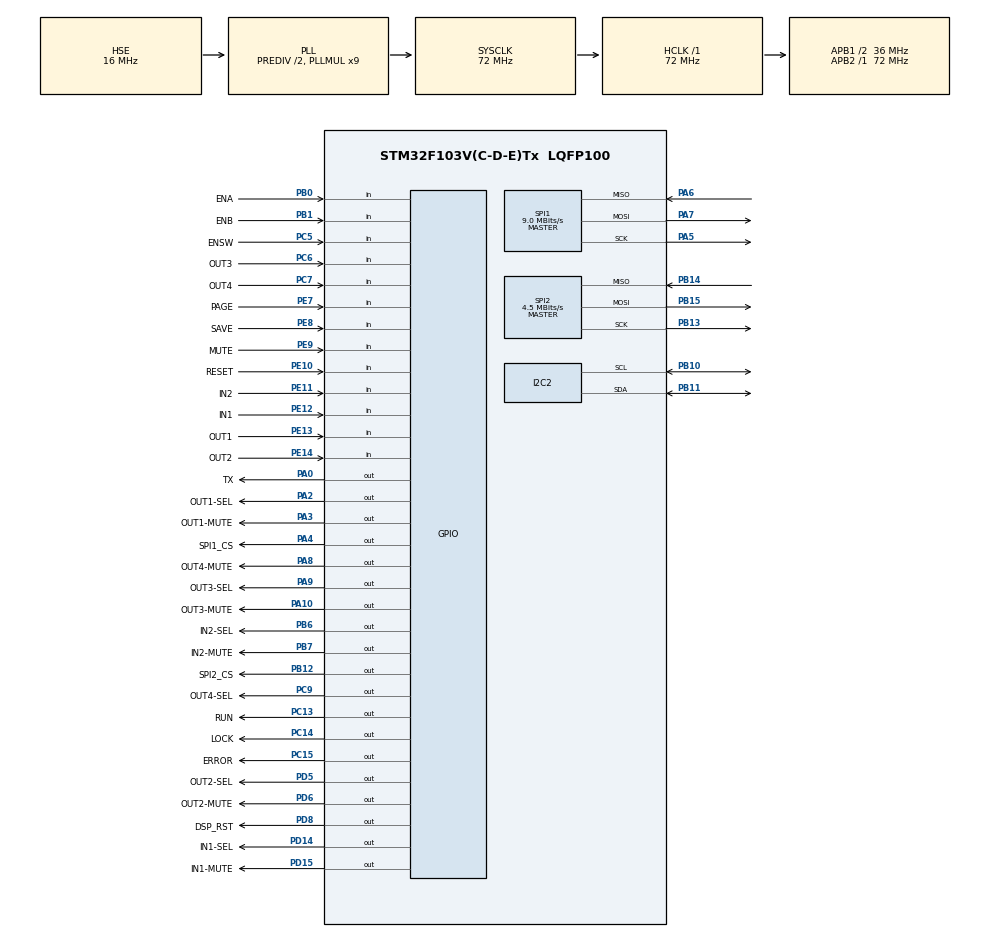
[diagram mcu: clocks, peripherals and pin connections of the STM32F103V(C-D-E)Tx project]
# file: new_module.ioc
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Mcu.Family=STM32F1
Mcu.Name=STM32F103V(C-D-E)Tx
Mcu.Package=LQFP100
NVIC.PriorityGroup=NVIC_PRIORITYGROUP_4
NVIC.TIM2_IRQn=true\:0\:0\:false\:false\:true\:true\:true
OSC_IN.Mode=HSE-External-Oscillator
OSC_IN.Signal=RCC_OSC_IN
OSC_OUT.Mode=HSE-External-Oscillator
OSC_OUT.Signal=RCC_OSC_OUT
PA0-WKUP.GPIO_Label=TX
PA0-WKUP.Signal=GPIO_Output
PA10.GPIO_Label=OUT3-MUTE
PA10.PinState=GPIO_PIN_SET
PA10.Signal=GPIO_Output
PA13.Mode=Serial_Wire
PA13.Signal=SYS_JTMS-SWDIO
PA14.Mode=Serial_Wire
PA14.Signal=SYS_JTCK-SWCLK
PA2.GPIO_Label=OUT1-SEL
PA2.PinState=GPIO_PIN_SET
PA2.Signal=GPIO_Output
PA3.GPIO_Label=OUT1-MUTE
PA3.PinState=GPIO_PIN_SET
PA3.Signal=GPIO_Output
PA4.GPIO_Label=SPI1_CS
PA4.GPIO_Speed=GPIO_SPEED_FREQ_HIGH
PA4.Signal=GPIO_Output
PA5.Mode=Full_Duplex_Master
PA5.Signal=SPI1_SCK
PA6.Mode=Full_Duplex_Master
PA6.Signal=SPI1_MISO
PA7.Mode=Full_Duplex_Master
PA7.Signal=SPI1_MOSI
PA8.GPIO_Label=OUT4-MUTE
PA8.PinState=GPIO_PIN_SET
PA8.Signal=GPIO_Output
PA9.GPIO_Label=OUT3-SEL
PA9.PinState=GPIO_PIN_SET
PA9.Signal=GPIO_Output
PB0.GPIO_Label=ENA
PB0.GPIO_PuPd=GPIO_PULLUP
PB0.Signal=GPIO_Input
PB1.GPIO_Label=ENB
PB1.GPIO_PuPd=GPIO_PULLUP
PB1.Signal=GPIO_Input
PB10.GPIO_Pu=GPIO_PULLUP
PB10.Mode=I2C
PB10.Signal=I2C2_SCL
PB11.GPIO_Pu=GPIO_PULLUP
PB11.Mode=I2C
PB11.Signal=I2C2_SDA
PB12.GPIO_Label=SPI2_CS
PB12.GPIO_Speed=GPIO_SPEED_FREQ_HIGH
PB12.Signal=GPIO_Output
PB13.Mode=Full_Duplex_Master
PB13.Signal=SPI2_SCK
PB14.Mode=Full_Duplex_Master
PB14.Signal=SPI2_MISO
PB15.Mode=Full_Duplex_Master
PB15.Signal=SPI2_MOSI
PB6.GPIO_Label=IN2-SEL
PB6.PinState=GPIO_PIN_SET
PB6.Signal=GPIO_Output
PB7.GPIO_Label=IN2-MUTE
PB7.PinState=GPIO_PIN_SET
PB7.Signal=GPIO_Output
PC13-TAMPER-RTC.GPIO_Label=RUN
PC13-TAMPER-RTC.Signal=GPIO_Output
PC14-OSC32_IN.GPIO_Label=LOCK
PC14-OSC32_IN.Signal=GPIO_Output
PC15-OSC32_OUT.GPIO_Label=ERROR
PC15-OSC32_OUT.Signal=GPIO_Output
PC5.GPIO_Label=ENSW
PC5.GPIO_PuPd=GPIO_PULLUP
PC5.Signal=GPIO_Input
PC6.GPIO_Label=OUT3
PC6.GPIO_PuPd=GPIO_PULLUP
PC6.Signal=GPIO_Input
PC7.GPIO_Label=OUT4
PC7.GPIO_PuPd=GPIO_PULLUP
PC7.Signal=GPIO_Input
PC9.GPIO_Label=OUT4-SEL
PC9.PinState=GPIO_PIN_SET
PC9.Signal=GPIO_Output
PD14.GPIO_Label=IN1-SEL
PD14.PinState=GPIO_PIN_SET
PD14.Signal=GPIO_Output
PD15.GPIO_Label=IN1-MUTE
PD15.PinState=GPIO_PIN_SET
PD15.Signal=GPIO_Output
PD5.GPIO_Label=OUT2-SEL
PD5.PinState=GPIO_PIN_SET
PD5.Signal=GPIO_Output
PD6.GPIO_Label=OUT2-MUTE
PD6.PinState=GPIO_PIN_SET
PD6.Signal=GPIO_Output
PD8.GPIO_Label=DSP_RST
PD8.GPIO_ModeDefaultOutputPP=GPIO_MODE_OUTPUT_OD
PD8.PinState=GPIO_PIN_SET
PD8.Signal=GPIO_Output
PE10.GPIO_Label=RESET
PE10.GPIO_PuPd=GPIO_PULLUP
PE10.Signal=GPIO_Input
PE11.GPIO_Label=IN2
PE11.GPIO_PuPd=GPIO_PULLUP
PE11.Signal=GPIO_Input
PE12.GPIO_Label=IN1
PE12.GPIO_PuPd=GPIO_PULLUP
PE12.Signal=GPIO_Input
PE13.GPIO_Label=OUT1
PE13.GPIO_PuPd=GPIO_PULLUP
PE13.Signal=GPIO_Input
PE14.GPIO_Label=OUT2
PE14.GPIO_PuPd=GPIO_PULLUP
PE14.Signal=GPIO_Input
PE7.GPIO_Label=PAGE
PE7.GPIO_PuPd=GPIO_PULLUP
PE7.Signal=GPIO_Input
PE8.GPIO_Label=SAVE
PE8.GPIO_PuPd=GPIO_PULLUP
PE8.Signal=GPIO_Input
PE9.GPIO_Label=MUTE
PE9.GPIO_PuPd=GPIO_PULLUP
PE9.Signal=GPIO_Input
ProjectManager.HeapSize=0x200
ProjectManager.StackSize=0x400
ProjectManager.TargetToolchain=STM32CubeIDE
RCC.AHBFreq_Value=72000000
RCC.APB1CLKDivider=RCC_HCLK_DIV2
RCC.APB1Freq_Value=36000000
RCC.APB1TimFreq_Value=72000000
RCC.APB2Freq_Value=72000000
RCC.APB2TimFreq_Value=72000000
RCC.HCLKFreq_Value=72000000
RCC.HSEDivPLL=RCC_HSE_PREDIV_DIV2
RCC.HSE_VALUE=16000000
RCC.PLLMUL=RCC_PLL_MUL9
RCC.PLLSourceVirtual=RCC_PLLSOURCE_HSE
RCC.SYSCLKFreq_VALUE=72000000
RCC.SYSCLKSource=RCC_SYSCLKSOURCE_PLLCLK
RCC.USBFreq_Value=72000000
SPI1.BaudRatePrescaler=SPI_BAUDRATEPRESCALER_8
SPI1.CalculateBaudRate=9.0 MBits/s
SPI1.Direction=SPI_DIRECTION_2LINES
SPI1.Mode=SPI_MODE_MASTER
SPI1.VirtualType=VM_MASTER
SPI2.BaudRatePrescaler=SPI_BAUDRATEPRESCALER_8
SPI2.CalculateBaudRate=4.5 MBits/s
SPI2.Direction=SPI_DIRECTION_2LINES
SPI2.Mode=SPI_MODE_MASTER
SPI2.VirtualType=VM_MASTER
TIM1.Prescaler=72-1
TIM2.ClockDivision=TIM_CLOCKDIVISION_DIV4
TIM2.Period=1400-1
TIM2.Prescaler=10000
VP_TIM1_VS_ClockSourceINT.Mode=Internal
VP_TIM2_VS_ClockSourceINT.Mode=Internal
board=custom

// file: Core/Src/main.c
/* USER CODE BEGIN Header */
/**
  ******************************************************************************
  * @file           : main.c
  * @brief          : Main program body
  ******************************************************************************
  * @attention-
  *
  * Copyright (c) 2022 STMicroelectronics.
  * All rights reserved.
  *
  * This software is licensed under terms that can be found in the LICENSE file
  * in the root directory of this software component.
  * If no LICENSE file comes with this software, it is provided AS-IS.
  *
  ******************************************************************************
  */
/* USER CODE END Header */
#include "main.h"

/* USER CODE BEGIN Includes */
#include "lcd_16x2_i2c.h"
#include "interface.h"
#include "dsp_processor.h"
#include "internal_data.h"
#include "external_flash.h"
/* USER CODE END Includes */

I2C_HandleTypeDef hi2c2;

SPI_HandleTypeDef hspi1;
SPI_HandleTypeDef hspi2;

TIM_HandleTypeDef htim1;
TIM_HandleTypeDef htim2;

/* USER CODE BEGIN PV */
extern int8_t mod;
extern uint8_t channel;
extern uint8_t page, sub_page;
extern uint8_t pos, prev, layer;
extern bool lcd_refresh;
extern bool setting;
extern bool mute[6];
/* USER CODE END PV */

void SystemClock_Config(void);
static void MX_GPIO_Init(void);
static void MX_I2C2_Init(void);
static void MX_SPI2_Init(void);
static void MX_SPI1_Init(void);
static void MX_TIM1_Init(void);
static void MX_TIM2_Init(void);

int main(void)
{

  /* MCU Configuration--------------------------------------------------------*/

  /* Reset of all peripherals, Initializes the Flash interface and the Systick. */
  HAL_Init();

  /* Configure the system clock */
  SystemClock_Config();

  /* Initialize all configured peripherals */
  MX_GPIO_Init();
  MX_I2C2_Init();
  MX_SPI2_Init();
  MX_SPI1_Init();
  MX_TIM1_Init();
  MX_TIM2_Init();
  /* USER CODE BEGIN 2 */

  HAL_GPIO_WritePin(LOCK_GPIO_Port, LOCK_Pin, GPIO_PIN_SET);
  HAL_GPIO_WritePin(ERROR_GPIO_Port, ERROR_Pin, GPIO_PIN_SET);
  HAL_GPIO_WritePin(RUN_GPIO_Port, RUN_Pin, GPIO_PIN_SET);

	HAL_Delay(500);
	HAL_GPIO_WritePin(DSP_RST_GPIO_Port, DSP_RST_Pin, GPIO_PIN_RESET);
	HAL_Delay(500);
	HAL_GPIO_WritePin(DSP_RST_GPIO_Port, DSP_RST_Pin, GPIO_PIN_SET);

	interface_begin();
	loading_procedure();

	HAL_TIM_Base_Start_IT(&htim2);
	HAL_Delay(500);

  	// cek koneksi lcd
  	uint8_t ret = HAL_I2C_IsDeviceReady(&hi2c2, 0x27<<1, 10, 100);

  	if(ret != HAL_OK)
  	{
  		Error_Handler();
  	}

  	uint16_t id = flash_read_id();

  	if((id == 0x00) || (id != 0xEF17))
  	{
  		lcd_clear();
  		lcd_set_cursor(0,0); lcd_print("ERROR FLASH");
  		lcd_set_cursor(0,1); lcd_print("TIDAK DITEMUKAN");

  		Error_Handler();
  	}

  	uint32_t handshake[4] = { 0x00, 0x18, 0x08, 0x00 };

  	for(uint8_t i=0; i<4; i++)
  	{
  		if(flash_read_byte(0x020000+i) != handshake[i])
  		{
  			lcd_clear();
  			lcd_set_cursor(0,0); lcd_print("ERROR");
  			lcd_set_cursor(0,1); lcd_print("FLASH CORRUPT");

  			Error_Handler();
  		}
  	}

  	// cek koneksi dsp
  	if(dsp_check_connection(0) != HAL_OK)
  	{
  		lcd_clear();
  		lcd_set_cursor(0,0); lcd_print("ERROR DSP");
  		lcd_set_cursor(0,1); lcd_print("TIDAK DITEMUKAN");

  		Error_Handler();
  	}

  	HAL_GPIO_WritePin(RUN_GPIO_Port, RUN_Pin, GPIO_PIN_SET);

  	lcd_clear();
  	interface_welcome();
  	dsp_unmute(0);

  	led_sel(0);
  	for(uint8_t i=0; i<6; i++)
  	{
  		led_mute(i, mute[i]);
  	}

  /* USER CODE END 2 */

  /* Infinite loop */
  /* USER CODE BEGIN WHILE */
  while (1)
  {
	  uint8_t nilai_tombol = baca_tombol();
	      	while(baca_tombol() != 0);

	      	switch(nilai_tombol)
	      	{
	  	  		case 1 : channel = 0; page = 1; sub_page = pos = 0; prev = 1; led_sel(0); lcd_refresh = true; lcd_clear(); break;
	  	  		case 2 : channel = 1; page = 1; sub_page = pos = 0; prev = 1; led_sel(1); lcd_refresh = true; lcd_clear(); break;
	  	  		case 3 : channel = 2; page = 2; sub_page = pos = 0; prev = 1; led_sel(2); lcd_refresh = true; lcd_clear(); break;
	  	  		case 4 : channel = 3; page = 2; sub_page = pos = 0; prev = 1; led_sel(3); lcd_refresh = true; lcd_clear(); break;
	  	  		case 5 : channel = 4; page = 2; sub_page = pos = 0; prev = 1; led_sel(4); lcd_refresh = true; lcd_clear(); break;
	  	  		case 6 : channel = 5; page = 2; sub_page = pos = 0; prev = 1; led_sel(5); lcd_refresh = true; lcd_clear(); break;
	  	  		case 7 :
	  	  			if(sub_page == 0)
	  	  			{
	  	  				if(mute[channel] == true){ mute[channel] = false; }
	  	  				else{ mute[channel] = true; }
	  	  				lcd_refresh = true;
	  	  			}
	  	  		break;
	  	  		case 8 :
	  	  			reset_parameter();
	  	  		break;
	  	  		case 9 :
	  	  			if(sub_page == 0){ sub_page = 1; }
	  	  			else{ sub_page = 0; }
	  	  			setting = false;
	  	  			lcd_refresh = true;
	  	  			lcd_clear();
	  	  		break;
	  	  		case 10 :
	  	  			save_parameter();
	  	  		break;
	      	}

	      	switch(page)
	      	{
	  	  		case 1 : page1(); break;
	  	  		case 2 : page2(); break;
	      	}
    /* USER CODE END WHILE */

  }
}

void SystemClock_Config(void)
{
  RCC_OscInitTypeDef RCC_OscInitStruct = {0};
  RCC_ClkInitTypeDef RCC_ClkInitStruct = {0};

  /** Initializes the RCC Oscillators according to the specified parameters
  * in the RCC_OscInitTypeDef structure.
  */
  RCC_OscInitStruct.OscillatorType = RCC_OSCILLATORTYPE_HSE;
  RCC_OscInitStruct.HSEState = RCC_HSE_ON;
  RCC_OscInitStruct.HSEPredivValue = RCC_HSE_PREDIV_DIV2;
  RCC_OscInitStruct.HSIState = RCC_HSI_ON;
  RCC_OscInitStruct.PLL.PLLState = RCC_PLL_ON;
  RCC_OscInitStruct.PLL.PLLSource = RCC_PLLSOURCE_HSE;
  RCC_OscInitStruct.PLL.PLLMUL = RCC_PLL_MUL9;
  if (HAL_RCC_OscConfig(&RCC_OscInitStruct) != HAL_OK)
  {
    Error_Handler();
  }
  /** Initializes the CPU, AHB and APB buses clocks
  */
  RCC_ClkInitStruct.ClockType = RCC_CLOCKTYPE_HCLK|RCC_CLOCKTYPE_SYSCLK
                              |RCC_CLOCKTYPE_PCLK1|RCC_CLOCKTYPE_PCLK2;
  RCC_ClkInitStruct.SYSCLKSource = RCC_SYSCLKSOURCE_PLLCLK;
  RCC_ClkInitStruct.AHBCLKDivider = RCC_SYSCLK_DIV1;
  RCC_ClkInitStruct.APB1CLKDivider = RCC_HCLK_DIV2;
  RCC_ClkInitStruct.APB2CLKDivider = RCC_HCLK_DIV1;

  if (HAL_RCC_ClockConfig(&RCC_ClkInitStruct, FLASH_LATENCY_2) != HAL_OK)
  {
    Error_Handler();
  }
}

static void MX_I2C2_Init(void)
{

  hi2c2.Instance = I2C2;
  hi2c2.Init.ClockSpeed = 100000;
  hi2c2.Init.DutyCycle = I2C_DUTYCYCLE_2;
  hi2c2.Init.OwnAddress1 = 0;
  hi2c2.Init.AddressingMode = I2C_ADDRESSINGMODE_7BIT;
  hi2c2.Init.DualAddressMode = I2C_DUALADDRESS_DISABLE;
  hi2c2.Init.OwnAddress2 = 0;
  hi2c2.Init.GeneralCallMode = I2C_GENERALCALL_DISABLE;
  hi2c2.Init.NoStretchMode = I2C_NOSTRETCH_DISABLE;
  if (HAL_I2C_Init(&hi2c2) != HAL_OK)
  {
    Error_Handler();
  }

}

static void MX_SPI1_Init(void)
{

  /* SPI1 parameter configuration*/
  hspi1.Instance = SPI1;
  hspi1.Init.Mode = SPI_MODE_MASTER;
  hspi1.Init.Direction = SPI_DIRECTION_2LINES;
  hspi1.Init.DataSize = SPI_DATASIZE_8BIT;
  hspi1.Init.CLKPolarity = SPI_POLARITY_LOW;
  hspi1.Init.CLKPhase = SPI_PHASE_1EDGE;
  hspi1.Init.NSS = SPI_NSS_SOFT;
  hspi1.Init.BaudRatePrescaler = SPI_BAUDRATEPRESCALER_8;
  hspi1.Init.FirstBit = SPI_FIRSTBIT_MSB;
  hspi1.Init.TIMode = SPI_TIMODE_DISABLE;
  hspi1.Init.CRCCalculation = SPI_CRCCALCULATION_DISABLE;
  hspi1.Init.CRCPolynomial = 10;
  if (HAL_SPI_Init(&hspi1) != HAL_OK)
  {
    Error_Handler();
  }

}

static void MX_SPI2_Init(void)
{

  /* SPI2 parameter configuration*/
  hspi2.Instance = SPI2;
  hspi2.Init.Mode = SPI_MODE_MASTER;
  hspi2.Init.Direction = SPI_DIRECTION_2LINES;
  hspi2.Init.DataSize = SPI_DATASIZE_8BIT;
  hspi2.Init.CLKPolarity = SPI_POLARITY_LOW;
  hspi2.Init.CLKPhase = SPI_PHASE_1EDGE;
  hspi2.Init.NSS = SPI_NSS_SOFT;
  hspi2.Init.BaudRatePrescaler = SPI_BAUDRATEPRESCALER_8;
  hspi2.Init.FirstBit = SPI_FIRSTBIT_MSB;
  hspi2.Init.TIMode = SPI_TIMODE_DISABLE;
  hspi2.Init.CRCCalculation = SPI_CRCCALCULATION_DISABLE;
  hspi2.Init.CRCPolynomial = 10;
  if (HAL_SPI_Init(&hspi2) != HAL_OK)
  {
    Error_Handler();
  }

}

static void MX_TIM1_Init(void)
{

  TIM_ClockConfigTypeDef sClockSourceConfig = {0};
  TIM_MasterConfigTypeDef sMasterConfig = {0};

  htim1.Instance = TIM1;
  htim1.Init.Prescaler = 72-1;
  htim1.Init.CounterMode = TIM_COUNTERMODE_UP;
  htim1.Init.Period = 65535;
  htim1.Init.ClockDivision = TIM_CLOCKDIVISION_DIV1;
  htim1.Init.RepetitionCounter = 0;
  htim1.Init.AutoReloadPreload = TIM_AUTORELOAD_PRELOAD_DISABLE;
  if (HAL_TIM_Base_Init(&htim1) != HAL_OK)
  {
    Error_Handler();
  }
  sClockSourceConfig.ClockSource = TIM_CLOCKSOURCE_INTERNAL;
  if (HAL_TIM_ConfigClockSource(&htim1, &sClockSourceConfig) != HAL_OK)
  {
    Error_Handler();
  }
  sMasterConfig.MasterOutputTrigger = TIM_TRGO_RESET;
  sMasterConfig.MasterSlaveMode = TIM_MASTERSLAVEMODE_DISABLE;
  if (HAL_TIMEx_MasterConfigSynchronization(&htim1, &sMasterConfig) != HAL_OK)
  {
    Error_Handler();
  }

}

static void MX_TIM2_Init(void)
{

  TIM_ClockConfigTypeDef sClockSourceConfig = {0};
  TIM_MasterConfigTypeDef sMasterConfig = {0};

  htim2.Instance = TIM2;
  htim2.Init.Prescaler = 10000;
  htim2.Init.CounterMode = TIM_COUNTERMODE_UP;
  htim2.Init.Period = 1400-1;
  htim2.Init.ClockDivision = TIM_CLOCKDIVISION_DIV4;
  htim2.Init.AutoReloadPreload = TIM_AUTORELOAD_PRELOAD_DISABLE;
  if (HAL_TIM_Base_Init(&htim2) != HAL_OK)
  {
    Error_Handler();
  }
  sClockSourceConfig.ClockSource = TIM_CLOCKSOURCE_INTERNAL;
  if (HAL_TIM_ConfigClockSource(&htim2, &sClockSourceConfig) != HAL_OK)
  {
    Error_Handler();
  }
  sMasterConfig.MasterOutputTrigger = TIM_TRGO_RESET;
  sMasterConfig.MasterSlaveMode = TIM_MASTERSLAVEMODE_DISABLE;
  if (HAL_TIMEx_MasterConfigSynchronization(&htim2, &sMasterConfig) != HAL_OK)
  {
    Error_Handler();
  }

}

static void MX_GPIO_Init(void)
{
  GPIO_InitTypeDef GPIO_InitStruct = {0};

  /* GPIO Ports Clock Enable */
  __HAL_RCC_GPIOC_CLK_ENABLE();
  __HAL_RCC_GPIOA_CLK_ENABLE();
  __HAL_RCC_GPIOB_CLK_ENABLE();
  __HAL_RCC_GPIOE_CLK_ENABLE();
  __HAL_RCC_GPIOD_CLK_ENABLE();

  /*Configure GPIO pin Output Level */
  HAL_GPIO_WritePin(GPIOC, RUN_Pin|LOCK_Pin|ERROR_Pin, GPIO_PIN_RESET);

  /*Configure GPIO pin Output Level */
  HAL_GPIO_WritePin(GPIOA, TX_Pin|SPI1_CS_Pin, GPIO_PIN_RESET);

  /*Configure GPIO pin Output Level */
  HAL_GPIO_WritePin(GPIOA, OUT1_SEL_Pin|OUT1_MUTE_Pin|OUT4_MUTE_Pin|OUT3_SEL_Pin
                          |OUT3_MUTE_Pin, GPIO_PIN_SET);

  /*Configure GPIO pin Output Level */
  HAL_GPIO_WritePin(SPI2_CS_GPIO_Port, SPI2_CS_Pin, GPIO_PIN_RESET);

  /*Configure GPIO pin Output Level */
  HAL_GPIO_WritePin(GPIOD, DSP_RST_Pin|IN1_SEL_Pin|IN1_MUTE_Pin|OUT2_SEL_Pin
                          |OUT2_MUTE_Pin, GPIO_PIN_SET);

  /*Configure GPIO pin Output Level */
  HAL_GPIO_WritePin(OUT4_SEL_GPIO_Port, OUT4_SEL_Pin, GPIO_PIN_SET);

  /*Configure GPIO pin Output Level */
  HAL_GPIO_WritePin(GPIOB, IN2_SEL_Pin|IN2_MUTE_Pin, GPIO_PIN_SET);

  /*Configure GPIO pins : RUN_Pin LOCK_Pin ERROR_Pin OUT4_SEL_Pin */
  GPIO_InitStruct.Pin = RUN_Pin|LOCK_Pin|ERROR_Pin|OUT4_SEL_Pin;
  GPIO_InitStruct.Mode = GPIO_MODE_OUTPUT_PP;
  GPIO_InitStruct.Pull = GPIO_NOPULL;
  GPIO_InitStruct.Speed = GPIO_SPEED_FREQ_LOW;
  HAL_GPIO_Init(GPIOC, &GPIO_InitStruct);

  /*Configure GPIO pins : TX_Pin OUT1_SEL_Pin OUT1_MUTE_Pin OUT4_MUTE_Pin
                           OUT3_SEL_Pin OUT3_MUTE_Pin */
  GPIO_InitStruct.Pin = TX_Pin|OUT1_SEL_Pin|OUT1_MUTE_Pin|OUT4_MUTE_Pin
                          |OUT3_SEL_Pin|OUT3_MUTE_Pin;
  GPIO_InitStruct.Mode = GPIO_MODE_OUTPUT_PP;
  GPIO_InitStruct.Pull = GPIO_NOPULL;
  GPIO_InitStruct.Speed = GPIO_SPEED_FREQ_LOW;
  HAL_GPIO_Init(GPIOA, &GPIO_InitStruct);

  /*Configure GPIO pin : SPI1_CS_Pin */
  GPIO_InitStruct.Pin = SPI1_CS_Pin;
  GPIO_InitStruct.Mode = GPIO_MODE_OUTPUT_PP;
  GPIO_InitStruct.Pull = GPIO_NOPULL;
  GPIO_InitStruct.Speed = GPIO_SPEED_FREQ_HIGH;
  HAL_GPIO_Init(SPI1_CS_GPIO_Port, &GPIO_InitStruct);

  /*Configure GPIO pins : ENSW_Pin OUT3_Pin OUT4_Pin */
  GPIO_InitStruct.Pin = ENSW_Pin|OUT3_Pin|OUT4_Pin;
  GPIO_InitStruct.Mode = GPIO_MODE_INPUT;
  GPIO_InitStruct.Pull = GPIO_PULLUP;
  HAL_GPIO_Init(GPIOC, &GPIO_InitStruct);

  /*Configure GPIO pins : ENA_Pin ENB_Pin */
  GPIO_InitStruct.Pin = ENA_Pin|ENB_Pin;
  GPIO_InitStruct.Mode = GPIO_MODE_INPUT;
  GPIO_InitStruct.Pull = GPIO_PULLUP;
  HAL_GPIO_Init(GPIOB, &GPIO_InitStruct);

  /*Configure GPIO pins : PAGE_Pin SAVE_Pin MUTE_Pin RESET_Pin
                           IN2_Pin IN1_Pin OUT1_Pin OUT2_Pin */
  GPIO_InitStruct.Pin = PAGE_Pin|SAVE_Pin|MUTE_Pin|RESET_Pin
                          |IN2_Pin|IN1_Pin|OUT1_Pin|OUT2_Pin;
  GPIO_InitStruct.Mode = GPIO_MODE_INPUT;
  GPIO_InitStruct.Pull = GPIO_PULLUP;
  HAL_GPIO_Init(GPIOE, &GPIO_InitStruct);

  /*Configure GPIO pin : SPI2_CS_Pin */
  GPIO_InitStruct.Pin = SPI2_CS_Pin;
  GPIO_InitStruct.Mode = GPIO_MODE_OUTPUT_PP;
  GPIO_InitStruct.Pull = GPIO_NOPULL;
  GPIO_InitStruct.Speed = GPIO_SPEED_FREQ_HIGH;
  HAL_GPIO_Init(SPI2_CS_GPIO_Port, &GPIO_InitStruct);

  /*Configure GPIO pin : DSP_RST_Pin */
  GPIO_InitStruct.Pin = DSP_RST_Pin;
  GPIO_InitStruct.Mode = GPIO_MODE_OUTPUT_OD;
  GPIO_InitStruct.Pull = GPIO_NOPULL;
  GPIO_InitStruct.Speed = GPIO_SPEED_FREQ_LOW;
  HAL_GPIO_Init(DSP_RST_GPIO_Port, &GPIO_InitStruct);

  /*Configure GPIO pins : IN1_SEL_Pin IN1_MUTE_Pin OUT2_SEL_Pin OUT2_MUTE_Pin */
  GPIO_InitStruct.Pin = IN1_SEL_Pin|IN1_MUTE_Pin|OUT2_SEL_Pin|OUT2_MUTE_Pin;
  GPIO_InitStruct.Mode = GPIO_MODE_OUTPUT_PP;
  GPIO_InitStruct.Pull = GPIO_NOPULL;
  GPIO_InitStruct.Speed = GPIO_SPEED_FREQ_LOW;
  HAL_GPIO_Init(GPIOD, &GPIO_InitStruct);

  /*Configure GPIO pins : IN2_SEL_Pin IN2_MUTE_Pin */
  GPIO_InitStruct.Pin = IN2_SEL_Pin|IN2_MUTE_Pin;
  GPIO_InitStruct.Mode = GPIO_MODE_OUTPUT_PP;
  GPIO_InitStruct.Pull = GPIO_NOPULL;
  GPIO_InitStruct.Speed = GPIO_SPEED_FREQ_LOW;
  HAL_GPIO_Init(GPIOB, &GPIO_InitStruct);

}

void Error_Handler(void)
{
  /* USER CODE BEGIN Error_Handler_Debug */
  /* User can add his own implementation to report the HAL error return state */
	while(1)
	{
		HAL_GPIO_TogglePin(ERROR_GPIO_Port, ERROR_Pin);
		HAL_Delay(150);
	}
  /* USER CODE END Error_Handler_Debug */
}
